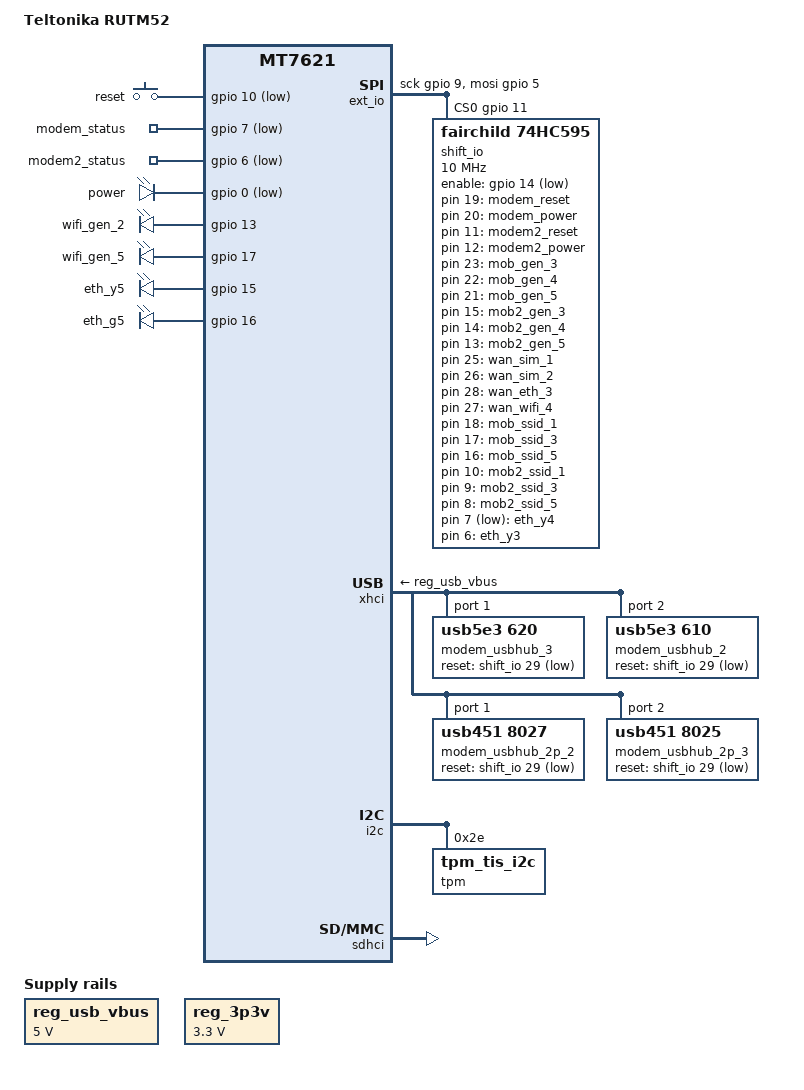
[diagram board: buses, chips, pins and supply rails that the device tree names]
#include "mt7621-teltonika-rutm-common.dtsi"

/ {
	compatible = "teltonika,rutm", "mediatek,mt7621-soc";
	model = "Teltonika RUTM52";

	ext_io {
		compatible = "spi-gpio";
		#address-cells = <1>;
		#size-cells = <0>;

		gpio-sck = <&gpio 9 GPIO_ACTIVE_HIGH>;	// 74HC595 SRCLK (Serial Clock)
		gpio-mosi = <&gpio 5 GPIO_ACTIVE_HIGH>;	// 74HC595 SER (Serial)
		cs-gpios = <&gpio 11 GPIO_ACTIVE_HIGH>;	// 74HC595 RCLK (Register Clock)
		num-chipselects = <1>;

		shift_io: shift_io@0 {
			compatible = "fairchild,74hc595";
			reg = <0>;
			gpio-controller;
			#gpio-cells = <2>;
			registers-number = <4>;
			spi-max-frequency = <10000000>;
			enable-gpios = <&gpio 14 GPIO_ACTIVE_LOW>;
		};
	};

	keys {
		compatible = "gpio-keys";

		reset {
			label = "reset";
			gpios = <&gpio 10 GPIO_ACTIVE_LOW>;
			linux,code = <KEY_RESTART>;
		};
	};

	gpio-export {
		compatible = "gpio-export";
		#size-cells = <0>;

		gpio_modem_reset_1 {
			gpio-export,name = "modem_reset";
			gpio-export,output = <0>;
			gpios = <&shift_io 19 GPIO_ACTIVE_HIGH>;
		};

		gpio_modem_power_1 {
			gpio-export,name = "modem_power";
			gpio-export,output = <1>; // tmp
			gpios = <&shift_io 20 GPIO_ACTIVE_HIGH>;
		};

		gpio_modem_status_1 {
			gpio-export,name = "modem_status";
			gpio-export,input = <0>;
			gpios = <&gpio 7 GPIO_ACTIVE_LOW>;
		};

		gpio_modem_reset_2 {
			gpio-export,name = "modem2_reset";
			gpio-export,output = <0>;
			gpios = <&shift_io 11 GPIO_ACTIVE_HIGH>;
		};

		gpio_modem_power_2 {
			gpio-export,name = "modem2_power";
			gpio-export,output = <1>; // tmp
			gpios = <&shift_io 12 GPIO_ACTIVE_HIGH>;
		};

		gpio_modem_status_2 {
			gpio-export,name = "modem2_status";
			gpio-export,input = <0>;
			gpios = <&gpio 6 GPIO_ACTIVE_LOW>;
		};
	};

	leds {
		compatible = "gpio-leds";

		led_power {
			label = "power";
			gpios = <&gpio 0 GPIO_ACTIVE_LOW>;
			default-state = "on";
			retain-state-shutdown;
		};

		led_gen_3 {
			label = "mob_gen_3";
			gpios = <&shift_io 23 GPIO_ACTIVE_HIGH>;
		};

		led_gen_4 {
			label = "mob_gen_4";
			gpios = <&shift_io 22 GPIO_ACTIVE_HIGH>;
		};

		led_gen_5 {
			label = "mob_gen_5";
			gpios = <&shift_io 21 GPIO_ACTIVE_HIGH>;
		};

		led_gen2_3 {
			label = "mob2_gen_3";
			gpios = <&shift_io 15 GPIO_ACTIVE_HIGH>;
		};

		led_gen2_4 {
			label = "mob2_gen_4";
			gpios = <&shift_io 14 GPIO_ACTIVE_HIGH>;
		};

		led_gen2_5 {
			label = "mob2_gen_5";
			gpios = <&shift_io 13 GPIO_ACTIVE_HIGH>;
		};

		led_wifi_24 {
			label = "wifi_gen_2";
			gpios = <&gpio 13 GPIO_ACTIVE_HIGH>;
		};

		led_wifi_50 {
			label = "wifi_gen_5";
			gpios = <&gpio 17 GPIO_ACTIVE_HIGH>;
		};

		led_wan_sim1 {
			label = "wan_sim_1";
			gpios = <&shift_io 25 GPIO_ACTIVE_HIGH>;
		};

		led_wan_sim2 {
			label = "wan_sim_2";
			gpios = <&shift_io 26 GPIO_ACTIVE_HIGH>;
		};

		led_wan_eth {
			label = "wan_eth_3";
			gpios = <&shift_io 28 GPIO_ACTIVE_HIGH>;
		};

		led_wan_wifi {
			label = "wan_wifi_4";
			gpios = <&shift_io 27 GPIO_ACTIVE_HIGH>;
		};

		led_ssid_1 {
			label = "mob_ssid_1";
			gpios = <&shift_io 18 GPIO_ACTIVE_HIGH>;
			linux,default-trigger = "timer"; // only
		};

		led_ssid_3 {
			label = "mob_ssid_3";
			gpios = <&shift_io 17 GPIO_ACTIVE_HIGH>;
			linux,default-trigger = "timer"; // only
		};

		led_ssid_5 {
			label = "mob_ssid_5";
			gpios = <&shift_io 16 GPIO_ACTIVE_HIGH>;
			linux,default-trigger = "timer"; //only
		};

		led_ssid2_1 {
			label = "mob2_ssid_1";
			gpios = <&shift_io 10 GPIO_ACTIVE_HIGH>;
			linux,default-trigger = "timer"; // only
		};

		led_ssid2_3 {
			label = "mob2_ssid_3";
			gpios = <&shift_io 9 GPIO_ACTIVE_HIGH>;
			linux,default-trigger = "timer"; // only
		};

		led_ssid2_5 {
			label = "mob2_ssid_5";
			gpios = <&shift_io 8 GPIO_ACTIVE_HIGH>;
			linux,default-trigger = "timer"; //only
		};

		led_eth_y5 {
			label = "eth_y5";
			gpios = <&gpio 15 GPIO_ACTIVE_HIGH>;
		};

		led_eth_y4 {
			label = "eth_y4";
			gpios = <&shift_io 7 GPIO_ACTIVE_LOW>;
		};

		led_eth_y3 {
			label = "eth_y3";
			gpios = <&shift_io 6 GPIO_ACTIVE_HIGH>;
		};

		led_eth_y2 {
			label = "eth_y2";
			gpios = <&shift_io 5 GPIO_ACTIVE_HIGH>;
		};

		led_eth_y1 {
			label = "eth_y1";
			gpios = <&shift_io 4 GPIO_ACTIVE_HIGH>;
		};

		led_eth_g5 {
			label = "eth_g5";
			gpios = <&gpio 16 GPIO_ACTIVE_HIGH>;
		};

		led_eth_g4 {
			label = "eth_g4";
			gpios = <&shift_io 3 GPIO_ACTIVE_LOW>;
		};

		led_eth_g3 {
			label = "eth_g3";
			gpios = <&shift_io 2 GPIO_ACTIVE_HIGH>;
		};

		led_eth_g2 {
			label = "eth_g2";
			gpios = <&shift_io 1 GPIO_ACTIVE_HIGH>;
		};

		led_eth_g1 {
			label = "eth_g1";
			gpios = <&shift_io 0 GPIO_ACTIVE_HIGH>;
		};
	};

	tlt_gpios { // Modify according to wiki page "DTS syntax with Libgpiod changes"
		gpiochip_info {
			hw_0 {
				hwver = <0>;
				gpiochip_count = <4>;

				gpiochip_0 = <32>; // Built-in
				gpiochip_1 = <32>; // Built-in
				gpiochip_2 = <32>; // Built-in
				gpiochip_3 = <24>; // Shift Register
			};
		};

		ioman {
			GPIO_8 {
				line_name = "GPIO_OUT_1";
			};
			GPIO_12 {
				line_name = "GPIO_IN_1";
				active_low;
			};
		};

		misc {
			GPIO_115 {
				line_name = "GPIO_MODEM_RESET_1";
			};
			GPIO_116 {
				line_name = "GPIO_MODEM_POWER_1";
			};
			GPIO_7 {
				line_name = "GPIO_MODEM_STATUS_1";
			};
			GPIO_107 {
				line_name = "GPIO_MODEM_RESET_2";
			};
			GPIO_108 {
				line_name = "GPIO_MODEM_POWER_2";
			};
			GPIO_6 {
				line_name = "GPIO_MODEM_STATUS_2";
			};
		};
	};

	reg_usb_vbus: regulator {
		compatible = "regulator-fixed";
		regulator-name = "usb_vbus";
		regulator-min-microvolt = <5000000>;
		regulator-max-microvolt = <5000000>;
		regulator-boot-on;
		regulator-always-on;
	};

	reg_3p3v: regulator-3p3v {
		compatible = "regulator-fixed";
		regulator-name = "fixed-3.3V";
		regulator-min-microvolt = <3300000>;
		regulator-max-microvolt = <3300000>;
		regulator-boot-on;
		regulator-always-on;
	};
};

&state_default {
	gpio {
		groups = "wdt", "jtag", "uart2", "uart3";
		function = "gpio";
	};
};

&switch0 {
	ports {
		port@0 {
			status = "okay";
			label = "lan1";
		};

		port@1 {
			status = "okay";
			label = "lan2";
		};

		port@2 {
			status = "okay";
			label = "lan3";
		};

		port@3 {
			status = "okay";
			label = "lan4";
		};
	};
};

&xhci {
	vbus-supply = <&reg_usb_vbus>;
	vusb33-supply = <&reg_3p3v>;


	modem_usbhub_3: hub@1 {
		compatible = "usb5e3,620";
		reg = <1>;
		reset-gpios = <&shift_io 29 GPIO_ACTIVE_LOW>;
		peer-hub = <&modem_usbhub_2>;
	};

	modem_usbhub_2: hub@2 {
		 compatible = "usb5e3,610";
		 reg = <2>;
		 reset-gpios = <&shift_io 29 GPIO_ACTIVE_LOW>;
		 peer-hub = <&modem_usbhub_3>;
	 };

	/* 2.0 hub on port 1 */
	modem_usbhub_2p_2: hub@3 {
		compatible = "usb451,8027";
		reg = <1>;
		peer-hub = <&modem_usbhub_2p_3>;
		reset-gpios = <&shift_io 29 GPIO_ACTIVE_LOW>;
	};

	/* 3.0 hub on port 2 */
	modem_usbhub_2p_3: hub@4 {
		compatible = "usb451,8025";
		reg = <2>;
		peer-hub = <&modem_usbhub_2p_2>;
		reset-gpios = <&shift_io 29 GPIO_ACTIVE_LOW>;
	};
};

&i2c {
	status = "okay";

	tpm: tpm@0x2e {
		compatible = "tpm_tis_i2c";
		reg = <0x2e>;
		status = "okay";
	};
};

&sdhci {
	status = "okay";
};

&mnfinfo {
	simpin3 {
		default = "";
		sec;
	};

	simpin4 {
		default = "";
		sec;
	};

	sim_cfg {
		default = "1111020_0000000_1211020_0000000";
	};
};
